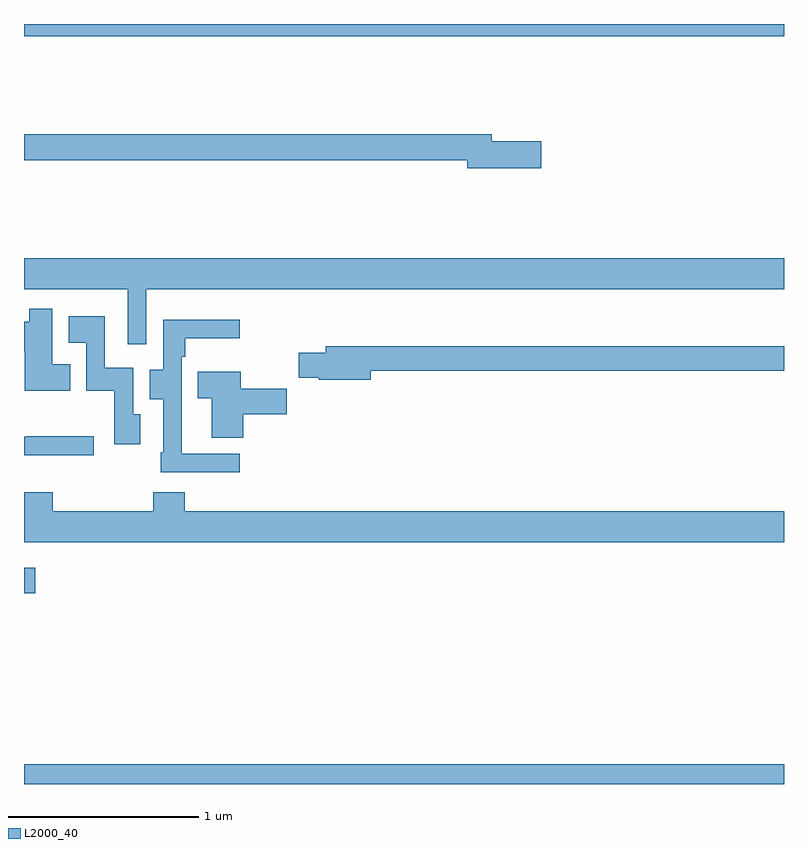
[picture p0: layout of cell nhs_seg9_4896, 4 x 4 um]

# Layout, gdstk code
import gdstk
lib = gdstk.Library(unit=1e-6, precision=1e-09)
def R(c, l, rs):  # rectangles x0, y0, x1, y1
    for r in rs: c.add(gdstk.rectangle(r[:2], r[2:], *l))
def P(c, l, *ps):  # polygons
    for p in ps: c.add(gdstk.Polygon(p, *l))
L2000_40 = (2000, 40)

nhs_seg9_4896 = lib.new_cell('nhs_seg9_4896')
R(nhs_seg9_4896, L2000_40, [(395,1176.5,399,1176.604), (395,1177.505,395.059,1177.639), (395,1180.436,399,1180.5)])
P(nhs_seg9_4896, L2000_40, [(397.723,1179.884),(397.462,1179.884),(397.462,1179.92),(395,1179.92),(395,1179.784),(397.334,1179.784),(397.334,1179.742),(397.723,1179.742)],
  [(395.643,1179.104),(399,1179.104),(399,1179.268),(395,1179.268),(395,1179.104),(395.547,1179.104),(395.547,1178.814),(395.643,1178.814)],
  [(395.243,1178.71),(395.149,1178.71),(395.149,1179.001),(395.027,1179.001),(395.027,1178.932),(395,1178.932),(395,1178.774),(395.003,1178.774),(395.003,1178.57),(395.243,1178.57)],
  [(395.611,1178.445),(395.574,1178.445),(395.574,1178.692),(395.424,1178.692),(395.424,1178.962),(395.235,1178.962),(395.235,1178.822),(395.328,1178.822),(395.328,1178.57),(395.476,1178.57),(395.476,1178.289),(395.611,1178.289)],
  [(396.136,1178.238),(395.83,1178.238),(395.83,1178.435),(395.829,1178.435),(395.829,1178.75),(395.849,1178.75),(395.849,1178.846),(396.136,1178.846),(396.136,1178.944),(395.733,1178.944),(395.733,1178.679),(395.663,1178.679),(395.663,1178.524),(395.733,1178.524),(395.733,1178.245),(395.721,1178.245),(395.721,1178.142),(396.136,1178.142)],
  [(396.826,1178.674),(399,1178.674),(399,1178.803),(396.587,1178.803),(396.587,1178.769),(396.445,1178.769),(396.445,1178.639),(396.55,1178.639),(396.55,1178.627),(396.826,1178.627)],
  [(396.155,1178.447),(396.383,1178.447),(396.383,1178.581),(396.142,1178.581),(396.142,1178.671),(395.914,1178.671),(395.914,1178.531),(395.987,1178.531),(395.987,1178.323),(396.155,1178.323)],
  [(395.368,1178.331),(395.011,1178.331),(395.011,1178.328),(395,1178.328),(395,1178.231),(395.368,1178.231)],
  [(399,1177.936),(395.846,1177.936),(395.846,1178.035),(395.681,1178.035),(395.681,1177.936),(395.15,1177.936),(395.15,1178.035),(395,1178.035),(395,1177.772),(399,1177.772)])

lib.write_gds('nhs_seg9_4896.gds')
